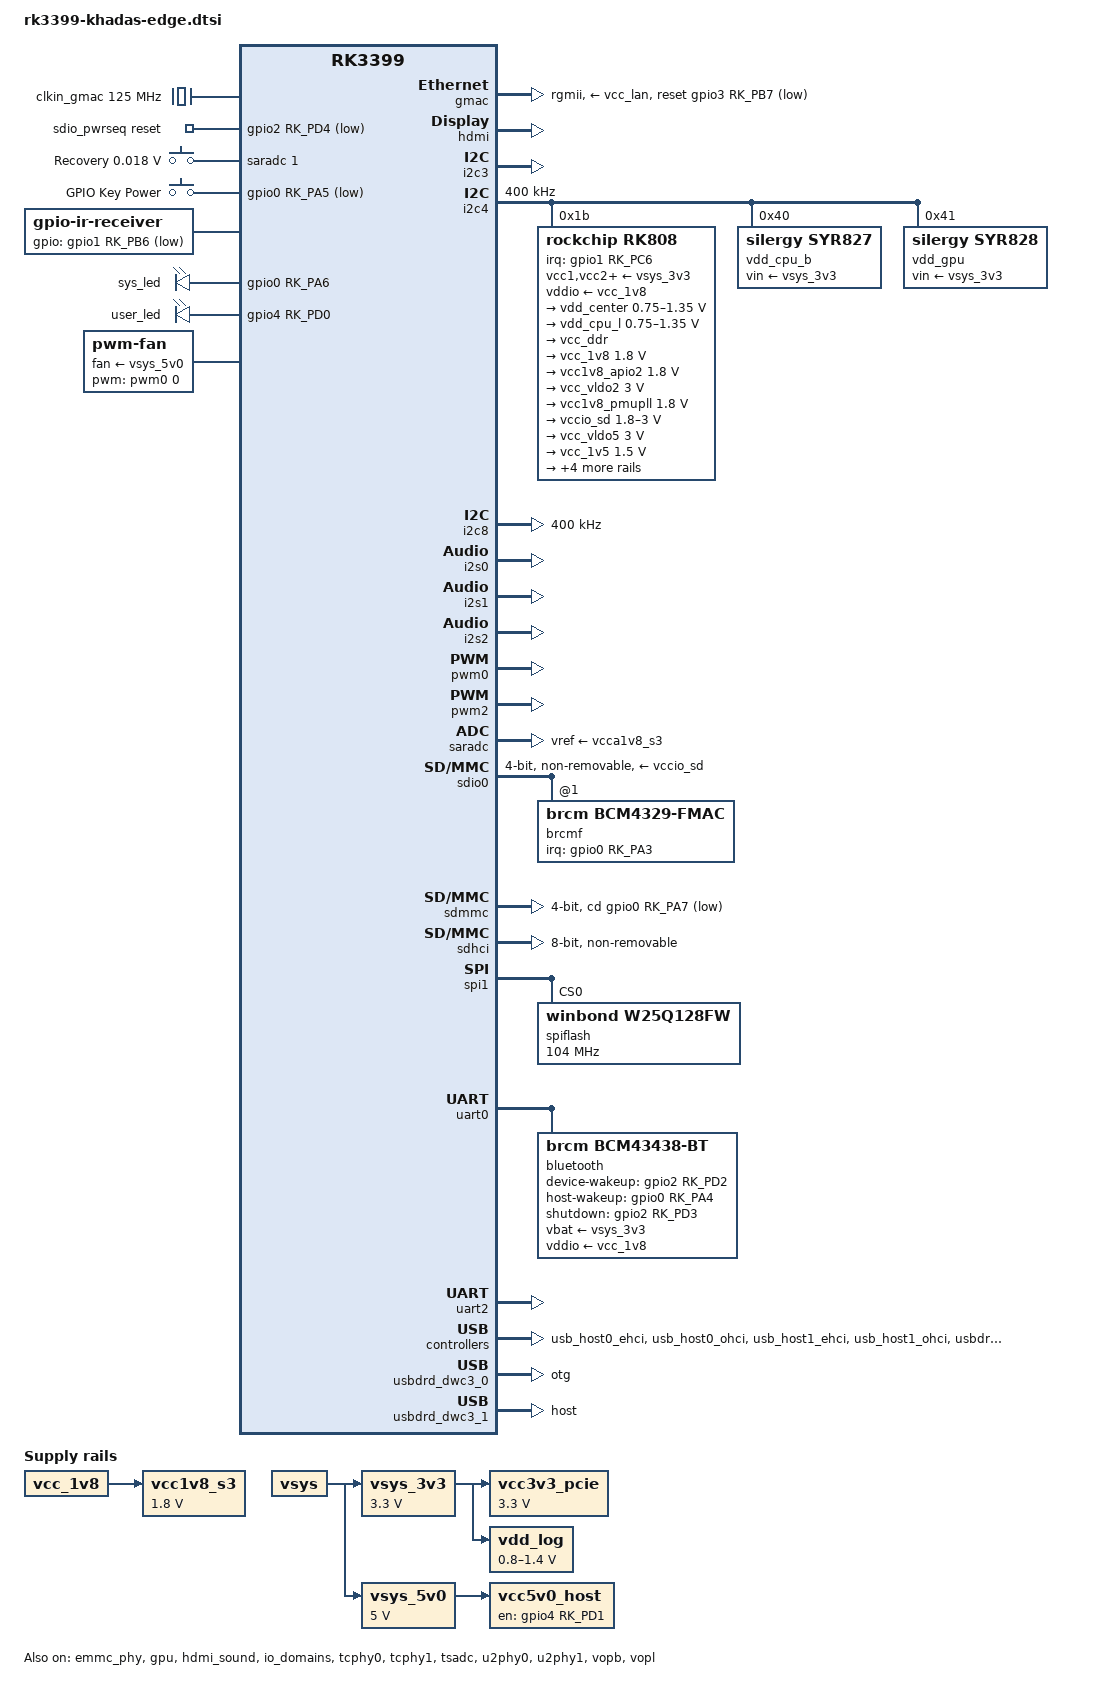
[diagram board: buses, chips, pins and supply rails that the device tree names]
// SPDX-License-Identifier: (GPL-2.0+ OR MIT)
/*
 * Copyright (c) 2019 Shenzhen Wesion Technology Co., Ltd.
 * (https://www.khadas.com)
 */

/dts-v1/;
#include <dt-bindings/input/linux-event-codes.h>
#include <dt-bindings/pwm/pwm.h>
#include "rk3399.dtsi"
#include "rk3399-opp.dtsi"

/ {
	aliases {
		mmc0 = &sdio0;
		mmc1 = &sdmmc;
		mmc2 = &sdhci;
	};

	chosen {
		stdout-path = "serial2:1500000n8";
	};

	clkin_gmac: external-gmac-clock {
		compatible = "fixed-clock";
		clock-frequency = <125000000>;
		clock-output-names = "clkin_gmac";
		#clock-cells = <0>;
	};

	sdio_pwrseq: sdio-pwrseq {
		compatible = "mmc-pwrseq-simple";
		clocks = <&rk808 1>;
		clock-names = "ext_clock";
		pinctrl-names = "default";
		pinctrl-0 = <&wifi_enable_h>;

		/*
		 * On the module itself this is one of these (depending
		 * on the actual card populated):
		 * - SDIO_RESET_L_WL_REG_ON
		 * - PDN (power down when low)
		 */
		reset-gpios = <&gpio2 RK_PD4 GPIO_ACTIVE_LOW>;
	};

	/* switched by pmic_sleep */
	vcc1v8_s3: vcca1v8_s3: vcc1v8-s3 {
		compatible = "regulator-fixed";
		regulator-name = "vcc1v8_s3";
		regulator-always-on;
		regulator-boot-on;
		regulator-min-microvolt = <1800000>;
		regulator-max-microvolt = <1800000>;
		vin-supply = <&vcc_1v8>;
	};

	vcc3v3_pcie: vcc3v3-pcie-regulator {
		compatible = "regulator-fixed";
		regulator-name = "vcc3v3_pcie";
		regulator-always-on;
		regulator-boot-on;
		regulator-min-microvolt = <3300000>;
		regulator-max-microvolt = <3300000>;
		vin-supply = <&vsys_3v3>;
	};

	/* Actually 3 regulators (host0, 1, 2) controlled by the same gpio */
	vcc5v0_host: vcc5v0-host-regulator {
		compatible = "regulator-fixed";
		enable-active-high;
		gpio = <&gpio4 RK_PD1 GPIO_ACTIVE_HIGH>;
		pinctrl-names = "default";
		pinctrl-0 = <&vcc5v0_host_en>;
		regulator-name = "vcc5v0_host";
		regulator-always-on;
		vin-supply = <&vsys_5v0>;
	};

	vdd_log: vdd-log {
		compatible = "pwm-regulator";
		pwms = <&pwm2 0 25000 1>;
		regulator-name = "vdd_log";
		regulator-always-on;
		regulator-boot-on;
		regulator-min-microvolt = <800000>;
		regulator-max-microvolt = <1400000>;
		vin-supply = <&vsys_3v3>;
	};

	vsys: vsys {
		compatible = "regulator-fixed";
		regulator-name = "vsys";
		regulator-always-on;
		regulator-boot-on;
	};

	vsys_3v3: vsys-3v3 {
		compatible = "regulator-fixed";
		regulator-name = "vsys_3v3";
		regulator-always-on;
		regulator-boot-on;
		regulator-min-microvolt = <3300000>;
		regulator-max-microvolt = <3300000>;
		vin-supply = <&vsys>;
	};

	vsys_5v0: vsys-5v0 {
		compatible = "regulator-fixed";
		regulator-name = "vsys_5v0";
		regulator-always-on;
		regulator-boot-on;
		regulator-min-microvolt = <5000000>;
		regulator-max-microvolt = <5000000>;
		vin-supply = <&vsys>;
	};

	adc-keys {
		compatible = "adc-keys";
		io-channels = <&saradc 1>;
		io-channel-names = "buttons";
		keyup-threshold-microvolt = <1800000>;
		poll-interval = <100>;

		recovery {
			label = "Recovery";
			linux,code = <KEY_VENDOR>;
			press-threshold-microvolt = <18000>;
		};
	};

	gpio-keys {
		compatible = "gpio-keys";
		autorepeat;
		pinctrl-names = "default";
		pinctrl-0 = <&pwrbtn>;

		power {
			debounce-interval = <100>;
			gpios = <&gpio0 RK_PA5 GPIO_ACTIVE_LOW>;
			label = "GPIO Key Power";
			linux,code = <KEY_POWER>;
			wakeup-source;
		};
	};

	ir-receiver {
		compatible = "gpio-ir-receiver";
		gpios = <&gpio1 RK_PB6 GPIO_ACTIVE_LOW>;
		linux,rc-map-name = "rc-khadas";
		pinctrl-names = "default";
		pinctrl-0 = <&ir_rx>;
	};

	leds {
		compatible = "gpio-leds";
		pinctrl-names = "default";
		pinctrl-0 = <&sys_led_pin>, <&user_led_pin>;

		sys_led: led-0 {
			label = "sys_led";
			linux,default-trigger = "heartbeat";
			gpios = <&gpio0 RK_PA6 GPIO_ACTIVE_HIGH>;
		};

		user_led: led-1 {
			label = "user_led";
			default-state = "off";
			gpios = <&gpio4 RK_PD0 GPIO_ACTIVE_HIGH>;
		};
	};

	fan: pwm-fan {
		compatible = "pwm-fan";
		cooling-levels = <0 150 200 255>;
		#cooling-cells = <2>;
		fan-supply = <&vsys_5v0>;
		pwms = <&pwm0 0 40000 0>;
	};
};

&cpu_l0 {
	cpu-supply = <&vdd_cpu_l>;
};

&cpu_l1 {
	cpu-supply = <&vdd_cpu_l>;
};

&cpu_l2 {
	cpu-supply = <&vdd_cpu_l>;
};

&cpu_l3 {
	cpu-supply = <&vdd_cpu_l>;
};

&cpu_b0 {
	cpu-supply = <&vdd_cpu_b>;
};

&cpu_b1 {
	cpu-supply = <&vdd_cpu_b>;
};

&cpu_thermal {
	trips {
		cpu_warm: cpu_warm {
			temperature = <55000>;
			hysteresis = <2000>;
			type = "active";
		};

		cpu_hot: cpu_hot {
			temperature = <65000>;
			hysteresis = <2000>;
			type = "active";
		};
	};

	cooling-maps {
		map2 {
			trip = <&cpu_warm>;
			cooling-device = <&fan THERMAL_NO_LIMIT 1>;
		};

		map3 {
			trip = <&cpu_hot>;
			cooling-device = <&fan 2 THERMAL_NO_LIMIT>;
		};
	};
};

&emmc_phy {
	status = "okay";
};

&gmac {
	assigned-clocks = <&cru SCLK_RMII_SRC>;
	assigned-clock-parents = <&clkin_gmac>;
	clock_in_out = "input";
	phy-supply = <&vcc_lan>;
	phy-mode = "rgmii";
	pinctrl-names = "default";
	pinctrl-0 = <&rgmii_pins>;
	snps,reset-gpio = <&gpio3 RK_PB7 GPIO_ACTIVE_LOW>;
	snps,reset-active-low;
	snps,reset-delays-us = <0 10000 50000>;
	tx_delay = <0x28>;
	rx_delay = <0x11>;
};

&gpu {
	mali-supply = <&vdd_gpu>;
	status = "okay";
};

&gpu_thermal {
	trips {
		gpu_warm: gpu_warm {
			temperature = <55000>;
			hysteresis = <2000>;
			type = "active";
		};

		gpu_hot: gpu_hot {
			temperature = <65000>;
			hysteresis = <2000>;
			type = "active";
		};
	};

	cooling-maps {
		map1 {
			trip = <&gpu_warm>;
			cooling-device = <&fan THERMAL_NO_LIMIT 1>;
		};

		map2 {
			trip = <&gpu_hot>;
			cooling-device = <&fan 2 THERMAL_NO_LIMIT>;
		};
	};
};

&hdmi {
	ddc-i2c-bus = <&i2c3>;
	pinctrl-names = "default";
	pinctrl-0 = <&hdmi_cec>;
	status = "okay";
};

&hdmi_sound {
	status = "okay";
};

&i2c3 {
	i2c-scl-rising-time-ns = <450>;
	i2c-scl-falling-time-ns = <15>;
	status = "okay";
};

&i2c4 {
	clock-frequency = <400000>;
	i2c-scl-rising-time-ns = <168>;
	i2c-scl-falling-time-ns = <4>;
	status = "okay";

	rk808: pmic@1b {
		compatible = "rockchip,rk808";
		reg = <0x1b>;
		interrupt-parent = <&gpio1>;
		interrupts = <RK_PC6 IRQ_TYPE_LEVEL_LOW>;
		#clock-cells = <1>;
		clock-output-names = "xin32k", "rk808-clkout2";
		pinctrl-names = "default";
		pinctrl-0 = <&pmic_int_l>;
		rockchip,system-power-controller;
		wakeup-source;

		vcc1-supply = <&vsys_3v3>;
		vcc2-supply = <&vsys_3v3>;
		vcc3-supply = <&vsys_3v3>;
		vcc4-supply = <&vsys_3v3>;
		vcc6-supply = <&vsys_3v3>;
		vcc7-supply = <&vsys_3v3>;
		vcc8-supply = <&vsys_3v3>;
		vcc9-supply = <&vsys_3v3>;
		vcc10-supply = <&vsys_3v3>;
		vcc11-supply = <&vsys_3v3>;
		vcc12-supply = <&vsys_3v3>;
		vddio-supply = <&vcc_1v8>;

		regulators {
			vdd_center: DCDC_REG1 {
				regulator-name = "vdd_center";
				regulator-always-on;
				regulator-boot-on;
				regulator-min-microvolt = <750000>;
				regulator-max-microvolt = <1350000>;
				regulator-ramp-delay = <6001>;

				regulator-state-mem {
					regulator-off-in-suspend;
				};
			};

			vdd_cpu_l: DCDC_REG2 {
				regulator-name = "vdd_cpu_l";
				regulator-always-on;
				regulator-boot-on;
				regulator-min-microvolt = <750000>;
				regulator-max-microvolt = <1350000>;
				regulator-ramp-delay = <6001>;

				regulator-state-mem {
					regulator-off-in-suspend;
				};
			};

			vcc_ddr: DCDC_REG3 {
				regulator-name = "vcc_ddr";
				regulator-always-on;
				regulator-boot-on;

				regulator-state-mem {
					regulator-on-in-suspend;
				};
			};

			vcc_1v8: DCDC_REG4 {
				regulator-name = "vcc_1v8";
				regulator-always-on;
				regulator-boot-on;
				regulator-min-microvolt = <1800000>;
				regulator-max-microvolt = <1800000>;

				regulator-state-mem {
					regulator-on-in-suspend;
					regulator-suspend-microvolt = <1800000>;
				};
			};

			vcc1v8_apio2: LDO_REG1 {
				regulator-name = "vcc1v8_apio2";
				regulator-always-on;
				regulator-boot-on;
				regulator-min-microvolt = <1800000>;
				regulator-max-microvolt = <1800000>;

				regulator-state-mem {
					regulator-off-in-suspend;
				};
			};

			vcc_vldo2: LDO_REG2 {
				regulator-name = "vcc_vldo2";
				regulator-always-on;
				regulator-boot-on;
				regulator-min-microvolt = <3000000>;
				regulator-max-microvolt = <3000000>;

				regulator-state-mem {
					regulator-off-in-suspend;
				};
			};

			vcc1v8_pmupll: LDO_REG3 {
				regulator-name = "vcc1v8_pmupll";
				regulator-always-on;
				regulator-boot-on;
				regulator-min-microvolt = <1800000>;
				regulator-max-microvolt = <1800000>;

				regulator-state-mem {
					regulator-on-in-suspend;
					regulator-suspend-microvolt = <1800000>;
				};
			};

			vccio_sd: LDO_REG4 {
				regulator-name = "vccio_sd";
				regulator-always-on;
				regulator-boot-on;
				regulator-min-microvolt = <1800000>;
				regulator-max-microvolt = <3000000>;

				regulator-state-mem {
					regulator-on-in-suspend;
					regulator-suspend-microvolt = <3000000>;
				};
			};

			vcc_vldo5: LDO_REG5 {
				regulator-name = "vcc_vldo5";
				regulator-always-on;
				regulator-boot-on;
				regulator-min-microvolt = <3000000>;
				regulator-max-microvolt = <3000000>;

				regulator-state-mem {
					regulator-off-in-suspend;
				};
			};

			vcc_1v5: LDO_REG6 {
				regulator-name = "vcc_1v5";
				regulator-always-on;
				regulator-boot-on;
				regulator-min-microvolt = <1500000>;
				regulator-max-microvolt = <1500000>;

				regulator-state-mem {
					regulator-on-in-suspend;
					regulator-suspend-microvolt = <1500000>;
				};
			};

			vcc1v8_codec: LDO_REG7 {
				regulator-name = "vcc1v8_codec";
				regulator-always-on;
				regulator-boot-on;
				regulator-min-microvolt = <1800000>;
				regulator-max-microvolt = <1800000>;

				regulator-state-mem {
					regulator-off-in-suspend;
				};
			};

			vcc_3v0: LDO_REG8 {
				regulator-name = "vcc_3v0";
				regulator-always-on;
				regulator-boot-on;
				regulator-min-microvolt = <3000000>;
				regulator-max-microvolt = <3000000>;

				regulator-state-mem {
					regulator-on-in-suspend;
					regulator-suspend-microvolt = <3000000>;
				};
			};

			vcc3v3_s3: vcc_lan: SWITCH_REG1 {
				regulator-name = "vcc3v3_s3";
				regulator-always-on;
				regulator-boot-on;

				regulator-state-mem {
					regulator-off-in-suspend;
				};
			};

			vcc3v3_s0: SWITCH_REG2 {
				regulator-name = "vcc3v3_s0";
				regulator-always-on;
				regulator-boot-on;

				regulator-state-mem {
					regulator-off-in-suspend;
				};
			};
		};
	};

	vdd_cpu_b: regulator@40 {
		compatible = "silergy,syr827";
		reg = <0x40>;
		fcs,suspend-voltage-selector = <1>;
		pinctrl-names = "default";
		pinctrl-0 = <&cpu_b_sleep>;
		regulator-name = "vdd_cpu_b";
		regulator-min-microvolt = <712500>;
		regulator-max-microvolt = <1500000>;
		regulator-ramp-delay = <1000>;
		regulator-always-on;
		regulator-boot-on;
		vin-supply = <&vsys_3v3>;

		regulator-state-mem {
			regulator-off-in-suspend;
		};
	};

	vdd_gpu: regulator@41 {
		compatible = "silergy,syr828";
		reg = <0x41>;
		fcs,suspend-voltage-selector = <1>;
		pinctrl-names = "default";
		pinctrl-0 = <&gpu_sleep>;
		regulator-name = "vdd_gpu";
		regulator-min-microvolt = <712500>;
		regulator-max-microvolt = <1500000>;
		regulator-ramp-delay = <1000>;
		regulator-always-on;
		regulator-boot-on;
		vin-supply = <&vsys_3v3>;

		regulator-state-mem {
			regulator-off-in-suspend;
		};
	};
};

&i2c8 {
	clock-frequency = <400000>;
	i2c-scl-rising-time-ns = <160>;
	i2c-scl-falling-time-ns = <30>;
	status = "okay";
};

&i2s0 {
	rockchip,playback-channels = <8>;
	rockchip,capture-channels = <8>;
	status = "okay";
};

&i2s1 {
	rockchip,playback-channels = <2>;
	rockchip,capture-channels = <2>;
	status = "okay";
};

&i2s2 {
	status = "okay";
};

&io_domains {
	bt656-supply = <&vcc1v8_apio2>;
	audio-supply = <&vcc1v8_codec>;
	sdmmc-supply = <&vccio_sd>;
	gpio1830-supply = <&vcc_3v0>;
	status = "okay";
};

&pmu_io_domains {
	pmu1830-supply = <&vcc_1v8>;
	status = "okay";
};

&pinctrl {
	bt {
		bt_host_wake_l: bt-host-wake-l {
			rockchip,pins = <0 RK_PA4 RK_FUNC_GPIO &pcfg_pull_none>;
		};

		bt_reg_on_h: bt-reg-on-h {
			rockchip,pins = <2 RK_PD3 RK_FUNC_GPIO &pcfg_pull_none>;
		};

		bt_wake_l: bt-wake-l {
			rockchip,pins = <2 RK_PD2 RK_FUNC_GPIO &pcfg_pull_none>;
		};
	};

	buttons {
		pwrbtn: pwrbtn {
			rockchip,pins = <0 RK_PA5 RK_FUNC_GPIO &pcfg_pull_up>;
		};
	};

	ir {
		ir_rx: ir-rx {
		    rockchip,pins = <1 RK_PB6 RK_FUNC_GPIO &pcfg_pull_none>;
		};
	};

	leds {
		sys_led_pin: sys-led-pin {
			rockchip,pins = <0 RK_PA6 RK_FUNC_GPIO &pcfg_pull_none>;
		};

		user_led_pin: user-led-pin {
			rockchip,pins = <4 RK_PD0 RK_FUNC_GPIO &pcfg_pull_none>;
		};
	};

	pmic {
		pmic_int_l: pmic-int-l {
			rockchip,pins = <1 RK_PC6 RK_FUNC_GPIO &pcfg_pull_up>;
		};

		cpu_b_sleep: cpu-b-sleep {
			rockchip,pins = <1 RK_PB5 RK_FUNC_GPIO &pcfg_pull_down>;
		};

		gpu_sleep: gpu-sleep {
			rockchip,pins = <0 RK_PB5 RK_FUNC_GPIO &pcfg_pull_down>;
		};
	};

	sdio-pwrseq {
		wifi_enable_h: wifi-enable-h {
			rockchip,pins = <2 RK_PD4 RK_FUNC_GPIO &pcfg_pull_none>;
		};
	};

	usb2 {
		vcc5v0_host_en: vcc5v0-host-en {
			rockchip,pins = <4 RK_PD1 RK_FUNC_GPIO &pcfg_pull_none>;
		};
	};

	wifi {
		wifi_host_wake_l: wifi-host-wake-l {
			rockchip,pins = <0 RK_PA3 RK_FUNC_GPIO &pcfg_pull_none>;
		};
	};
};

&pwm0 {
	status = "okay";
};

&pwm2 {
	status = "okay";
};

&saradc {
	vref-supply = <&vcca1v8_s3>;
	status = "okay";
};

&sdio0 {
	/* WiFi & BT combo module Ampak AP6356S */
	bus-width = <4>;
	cap-sdio-irq;
	cap-sd-highspeed;
	keep-power-in-suspend;
	mmc-pwrseq = <&sdio_pwrseq>;
	non-removable;
	pinctrl-names = "default";
	pinctrl-0 = <&sdio0_bus4 &sdio0_cmd &sdio0_clk>;
	sd-uhs-sdr104;
	vqmmc-supply = <&vcc1v8_s3>;
	vmmc-supply = <&vccio_sd>;
	#address-cells = <1>;
	#size-cells = <0>;
	status = "okay";

	brcmf: wifi@1 {
		reg = <1>;
		compatible = "brcm,bcm4329-fmac";
		interrupt-parent = <&gpio0>;
		interrupts = <RK_PA3 GPIO_ACTIVE_HIGH>;
		interrupt-names = "host-wake";
		brcm,drive-strength = <5>;
		pinctrl-names = "default";
		pinctrl-0 = <&wifi_host_wake_l>;
	};
};

&sdmmc {
	bus-width = <4>;
	cap-mmc-highspeed;
	cap-sd-highspeed;
	cd-gpios = <&gpio0 RK_PA7 GPIO_ACTIVE_LOW>;
	disable-wp;
	max-frequency = <150000000>;
	pinctrl-names = "default";
	pinctrl-0 = <&sdmmc_clk &sdmmc_cmd &sdmmc_bus4>;
	status = "okay";
};

&sdhci {
	bus-width = <8>;
	mmc-hs400-1_8v;
	non-removable;
	status = "okay";
};

&spi1 {
	status = "okay";

	spiflash: flash@0 {
		compatible = "winbond,w25q128fw", "jedec,spi-nor";
		reg = <0>;
		spi-max-frequency = <104000000>;
	};
};

&tcphy0 {
	status = "okay";
};

&tcphy1 {
	status = "okay";
};

&tsadc {
	/* tshut mode 0:CRU 1:GPIO */
	rockchip,hw-tshut-mode = <1>;
	/* tshut polarity 0:LOW 1:HIGH */
	rockchip,hw-tshut-polarity = <1>;
	status = "okay";
};

&u2phy0 {
	status = "okay";

	u2phy0_otg: otg-port {
		status = "okay";
	};

	u2phy0_host: host-port {
		phy-supply = <&vcc5v0_host>;
		status = "okay";
	};
};

&u2phy1 {
	status = "okay";

	u2phy1_otg: otg-port {
		status = "okay";
	};

	u2phy1_host: host-port {
		phy-supply = <&vcc5v0_host>;
		status = "okay";
	};
};

&uart0 {
	pinctrl-names = "default";
	pinctrl-0 = <&uart0_xfer &uart0_rts &uart0_cts>;
	status = "okay";

	bluetooth {
		compatible = "brcm,bcm43438-bt";
		clocks = <&rk808 1>;
		clock-names = "lpo";
		device-wakeup-gpios = <&gpio2 RK_PD2 GPIO_ACTIVE_HIGH>;
		host-wakeup-gpios = <&gpio0 RK_PA4 GPIO_ACTIVE_HIGH>;
		shutdown-gpios = <&gpio2 RK_PD3 GPIO_ACTIVE_HIGH>;
		max-speed = <4000000>;
		pinctrl-names = "default";
		pinctrl-0 = <&bt_reg_on_h &bt_host_wake_l &bt_wake_l>;
		vbat-supply = <&vsys_3v3>;
		vddio-supply = <&vcc_1v8>;
	};
};

&uart2 {
	status = "okay";
};

&usb_host0_ehci {
	status = "okay";
};

&usb_host0_ohci {
	status = "okay";
};

&usb_host1_ehci {
	status = "okay";
};

&usb_host1_ohci {
	status = "okay";
};

&usbdrd3_0 {
	status = "okay";
};

&usbdrd_dwc3_0 {
	status = "okay";
	dr_mode = "otg";
};

&usbdrd3_1 {
	status = "okay";
};

&usbdrd_dwc3_1 {
	status = "okay";
	dr_mode = "host";
};

&vopb {
	status = "okay";
};

&vopb_mmu {
	status = "okay";
};

&vopl {
	status = "okay";
};

&vopl_mmu {
	status = "okay";
};
